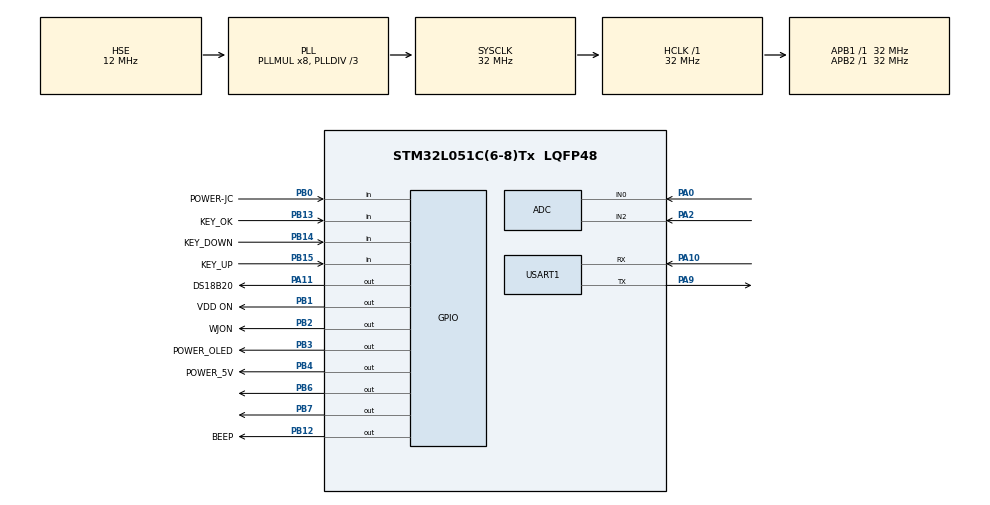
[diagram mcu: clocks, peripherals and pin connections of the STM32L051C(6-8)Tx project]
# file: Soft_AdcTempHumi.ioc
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ADC.ClockPrescaler=ADC_CLOCK_SYNC_PCLK_DIV2
ADC.ContinuousConvMode=ENABLE
ADC.DMAContinuousRequests=ENABLE
ADC.DiscontinuousConvMode=DISABLE
ADC.OversamplingMode=DISABLE
ADC.SamplingTime=ADC_SAMPLETIME_160CYCLES_5
ADC.ScanConvMode=ADC_SCAN_DIRECTION_FORWARD
Dma.ADC.0.Direction=DMA_PERIPH_TO_MEMORY
Dma.ADC.0.Instance=DMA1_Channel1
Dma.ADC.0.MemDataAlignment=DMA_MDATAALIGN_HALFWORD
Dma.ADC.0.MemInc=DMA_MINC_ENABLE
Dma.ADC.0.Mode=DMA_CIRCULAR
Dma.ADC.0.PeriphDataAlignment=DMA_PDATAALIGN_HALFWORD
Dma.ADC.0.PeriphInc=DMA_PINC_DISABLE
Dma.ADC.0.Priority=DMA_PRIORITY_LOW
Dma.Request0=ADC
FREERTOS.Tasks01=OLEDTask,-1,128,Oled_ShowTask,Default,NULL,Dynamic,NULL,NULL;AdcTask,0,128,Adc_Task,Default,NULL,Dynamic,NULL,NULL;KeyTask,-1,128,Key_Task,Default,NULL,Dynamic,NULL,NULL
Mcu.Family=STM32L0
Mcu.Name=STM32L051C(6-8)Tx
Mcu.Package=LQFP48
NVIC.ADC1_COMP_IRQn=true\:3\:0\:false\:false\:true\:true\:true\:true\:true
NVIC.DMA1_Channel1_IRQn=true\:3\:0\:false\:false\:true\:true\:false\:true\:true
NVIC.TIM22_IRQn=true\:3\:0\:false\:false\:true\:false\:false\:true\:true
NVIC.TimeBase=TIM22_IRQn
NVIC.TimeBaseIP=TIM22
PA0.Mode=IN0
PA0.Signal=ADC_IN0
PA10.Mode=Asynchronous
PA10.Signal=USART1_RX
PA11.GPIO_Label=DS18B20
PA11.GPIO_PuPd=GPIO_NOPULL
PA11.GPIO_Speed=GPIO_SPEED_FREQ_VERY_HIGH
PA11.PinState=GPIO_PIN_SET
PA11.Signal=GPIO_Output
PA13.Mode=Serial_Wire
PA13.Signal=SYS_SWDIO
PA14.Mode=Serial_Wire
PA14.Signal=SYS_SWCLK
PA2.Mode=IN2
PA2.Signal=ADC_IN2
PA9.Mode=Asynchronous
PA9.Signal=USART1_TX
PB0.GPIO_Label=POWER-JC
PB0.GPIO_PuPd=GPIO_PULLUP
PB0.Signal=GPIO_Input
PB1.GPIO_Label=VDD ON
PB1.GPIO_PuPd=GPIO_PULLUP
PB1.PinState=GPIO_PIN_SET
PB1.Signal=GPIO_Output
PB12.GPIO_Label=BEEP
PB12.Signal=GPIO_Output
PB13.GPIO_Label=KEY_OK
PB13.GPIO_PuPd=GPIO_PULLUP
PB13.Signal=GPIO_Input
PB14.GPIO_Label=KEY_DOWN
PB14.GPIO_PuPd=GPIO_PULLUP
PB14.Signal=GPIO_Input
PB15.GPIO_Label=KEY_UP
PB15.GPIO_PuPd=GPIO_PULLUP
PB15.Signal=GPIO_Input
PB2.GPIO_Label=WJON
PB2.GPIO_PuPd=GPIO_PULLUP
PB2.GPIO_Speed=GPIO_SPEED_FREQ_LOW
PB2.Signal=GPIO_Output
PB3.GPIO_Label=POWER_OLED
PB3.GPIO_PuPd=GPIO_PULLUP
PB3.GPIO_Speed=GPIO_SPEED_FREQ_LOW
PB3.PinState=GPIO_PIN_RESET
PB3.Signal=GPIO_Output
PB4.GPIO_Label=POWER_5V
PB4.GPIO_ModeDefaultOutputPP=GPIO_MODE_OUTPUT_PP
PB4.GPIO_PuPd=GPIO_PULLUP
PB4.GPIO_Speed=GPIO_SPEED_FREQ_HIGH
PB4.Signal=GPIO_Output
PB6.GPIO_PuPd=GPIO_PULLUP
PB6.PinState=GPIO_PIN_SET
PB6.Signal=GPIO_Output
PB7.GPIO_PuPd=GPIO_PULLUP
PB7.PinState=GPIO_PIN_SET
PB7.Signal=GPIO_Output
PH0-OSC_IN.Mode=HSE-External-Oscillator
PH0-OSC_IN.Signal=RCC_OSC_IN
PH1-OSC_OUT.Mode=HSE-External-Oscillator
PH1-OSC_OUT.Signal=RCC_OSC_OUT
ProjectManager.HeapSize=0x200
ProjectManager.StackSize=0x400
ProjectManager.TargetToolchain=MDK-ARM V5.32
RCC.AHBFreq_Value=32000000
RCC.APB1Freq_Value=32000000
RCC.APB1TimFreq_Value=32000000
RCC.APB2Freq_Value=32000000
RCC.APB2TimFreq_Value=32000000
RCC.HCLKFreq_Value=32000000
RCC.HSE_VALUE=12000000
RCC.HSI16_VALUE=16000000
RCC.HSI_VALUE=16000000
RCC.LSE_VALUE=32768
RCC.MSI_VALUE=2097000
RCC.PLLDIV=RCC_PLLDIV_3
RCC.PLLMUL=RCC_PLLMUL_8
RCC.PLLSourceVirtual=RCC_PLLSOURCE_HSE
RCC.SYSCLKFreq_VALUE=32000000
RCC.SYSCLKSource=RCC_SYSCLKSOURCE_PLLCLK
RCC.VCOOutputFreq_Value=96000000
TIM2.Prescaler=31
USART1.VirtualMode-Asynchronous=VM_ASYNC
VP_FREERTOS_VS_CMSIS_V1.Mode=CMSIS_V1
VP_SYS_VS_tim22.Mode=TIM22
VP_TIM2_VS_ClockSourceINT.Mode=Internal
board=custom

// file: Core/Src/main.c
/* USER CODE BEGIN Header */
/**
  ******************************************************************************
  * @file           : main.c
  * @brief          : Main program body
  ******************************************************************************
  * @attention
  *
  * Copyright (c) 2023 STMicroelectronics.
  * All rights reserved.
  *
  * This software is licensed under terms that can be found in the LICENSE file
  * in the root directory of this software component.
  * If no LICENSE file comes with this software, it is provided AS-IS.
  *
  ******************************************************************************
  */
/* USER CODE END Header */
#include "main.h"
#include "cmsis_os.h"
#include "adc.h"
#include "dma.h"
#include "tim.h"
#include "usart.h"
#include "gpio.h"

void SystemClock_Config(void);
void MX_FREERTOS_Init(void);

int main(void)
{

  /* MCU Configuration--------------------------------------------------------*/

  /* Reset of all peripherals, Initializes the Flash interface and the Systick. */
  HAL_Init();

  /* Configure the system clock */
  SystemClock_Config();

  /* Initialize all configured peripherals */
  MX_GPIO_Init();
  MX_DMA_Init();
  MX_ADC_Init();
  MX_USART1_UART_Init();
  MX_TIM2_Init();
  /* USER CODE BEGIN 2 */
    MX_DMA_Init();
//HAL_GPIO_WritePin(WJON_GPIO_Port, WJON_Pin, GPIO_PIN_RESET);
  /* USER CODE END 2 */

  /* Call init function for freertos objects (in freertos.c) */
  MX_FREERTOS_Init();

  /* Start scheduler */
  osKernelStart();

  /* We should never get here as control is now taken by the scheduler */
  /* Infinite loop */
    while (1)
    {

    }
}

void SystemClock_Config(void)
{
  RCC_OscInitTypeDef RCC_OscInitStruct = {0};
  RCC_ClkInitTypeDef RCC_ClkInitStruct = {0};
  RCC_PeriphCLKInitTypeDef PeriphClkInit = {0};

  /** Configure the main internal regulator output voltage
  */
  __HAL_PWR_VOLTAGESCALING_CONFIG(PWR_REGULATOR_VOLTAGE_SCALE1);

  /** Initializes the RCC Oscillators according to the specified parameters
  * in the RCC_OscInitTypeDef structure.
  */
  RCC_OscInitStruct.OscillatorType = RCC_OSCILLATORTYPE_HSE;
  RCC_OscInitStruct.HSEState = RCC_HSE_ON;
  RCC_OscInitStruct.PLL.PLLState = RCC_PLL_ON;
  RCC_OscInitStruct.PLL.PLLSource = RCC_PLLSOURCE_HSE;
  RCC_OscInitStruct.PLL.PLLMUL = RCC_PLLMUL_8;
  RCC_OscInitStruct.PLL.PLLDIV = RCC_PLLDIV_3;
  if (HAL_RCC_OscConfig(&RCC_OscInitStruct) != HAL_OK)
  {
    Error_Handler();
  }

  /** Initializes the CPU, AHB and APB buses clocks
  */
  RCC_ClkInitStruct.ClockType = RCC_CLOCKTYPE_HCLK|RCC_CLOCKTYPE_SYSCLK
                              |RCC_CLOCKTYPE_PCLK1|RCC_CLOCKTYPE_PCLK2;
  RCC_ClkInitStruct.SYSCLKSource = RCC_SYSCLKSOURCE_PLLCLK;
  RCC_ClkInitStruct.AHBCLKDivider = RCC_SYSCLK_DIV1;
  RCC_ClkInitStruct.APB1CLKDivider = RCC_HCLK_DIV1;
  RCC_ClkInitStruct.APB2CLKDivider = RCC_HCLK_DIV1;

  if (HAL_RCC_ClockConfig(&RCC_ClkInitStruct, FLASH_LATENCY_1) != HAL_OK)
  {
    Error_Handler();
  }
  PeriphClkInit.PeriphClockSelection = RCC_PERIPHCLK_USART1;
  PeriphClkInit.Usart1ClockSelection = RCC_USART1CLKSOURCE_PCLK2;
  if (HAL_RCCEx_PeriphCLKConfig(&PeriphClkInit) != HAL_OK)
  {
    Error_Handler();
  }
}

void HAL_TIM_PeriodElapsedCallback(TIM_HandleTypeDef *htim)
{
  if (htim->Instance == TIM22) {
    HAL_IncTick();
  }
}

void Error_Handler(void)
{
    __disable_irq();
    while (1)
    {
    }
}

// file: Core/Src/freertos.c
/* USER CODE BEGIN Header */
/**
  ******************************************************************************
  * File Name          : freertos.c
  * Description        : Code for freertos applications
  ******************************************************************************
  * @attention
  *
  * Copyright (c) 2023 STMicroelectronics.
  * All rights reserved.
  *
  * This software is licensed under terms that can be found in the LICENSE file
  * in the root directory of this software component.
  * If no LICENSE file comes with this software, it is provided AS-IS.
  *
  ******************************************************************************
  */
/* USER CODE END Header */

#include "FreeRTOS.h"
#include "task.h"
#include "main.h"
#include "cmsis_os.h"

/* USER CODE BEGIN Includes */
#include "voltage_adc.h"
#include "stdio.h"
#include "oled.h"
#include "adc.h"
#include "string.h"
#include "ds18b20.h"
/* USER CODE END Includes */

/* USER CODE BEGIN PTD */
__IO uint16_t adcCovValueBuff[10][2] = {0};	//存放ADC的值 6通道  每个通道存放30个值，由DMA循环写入
float SoilHumidity;
uint8_t Kwh_Percen;
float Temp_Value;
uint8_t OLED_ShowSprintBuff[50];
uint8_t Ui_ShowIndex;
uint8_t Ui_Set_ThereIndex;
uint8_t Kwh_ThereShold=20;
uint8_t Ui_OK_OFfLAG;
float Temp_ThereSholdValue = 40.0;
float Soi_TherelHumidity = 60.0;
/* USER CODE END PTD */

/* USER CODE BEGIN PD */
SemaphoreHandle_t OLED_bUFFxMutex;
/* USER CODE END PD */

osThreadId OLEDTaskHandle;
osThreadId AdcTaskHandle;
osThreadId KeyTaskHandle;

/* USER CODE BEGIN FunctionPrototypes */
uint16_t adc_value[10];
/* USER CODE END FunctionPrototypes */

void Oled_ShowTask(void const * argument);
void Adc_Task(void const * argument);
void Key_Task(void const * argument);

void MX_FREERTOS_Init(void); /* (MISRA C 2004 rule 8.1) */

/* GetIdleTaskMemory prototype (linked to static allocation support) */
void vApplicationGetIdleTaskMemory( StaticTask_t **ppxIdleTaskTCBBuffer, StackType_t **ppxIdleTaskStackBuffer, uint32_t *pulIdleTaskStackSize );

/* USER CODE BEGIN GET_IDLE_TASK_MEMORY */
static StaticTask_t xIdleTaskTCBBuffer;
static StackType_t xIdleStack[configMINIMAL_STACK_SIZE];

void vApplicationGetIdleTaskMemory( StaticTask_t **ppxIdleTaskTCBBuffer, StackType_t **ppxIdleTaskStackBuffer, uint32_t *pulIdleTaskStackSize )
{
    *ppxIdleTaskTCBBuffer = &xIdleTaskTCBBuffer;
    *ppxIdleTaskStackBuffer = &xIdleStack[0];
    *pulIdleTaskStackSize = configMINIMAL_STACK_SIZE;
    /* place for user code */
}
/* USER CODE END GET_IDLE_TASK_MEMORY */

void MX_FREERTOS_Init(void) {

  /* USER CODE BEGIN RTOS_MUTEX */
    OLED_bUFFxMutex = xSemaphoreCreateMutex( );
    /* add mutexes, ... */
  /* USER CODE END RTOS_MUTEX */

  /* Create the thread(s) */
  /* definition and creation of OLEDTask */
  osThreadDef(OLEDTask, Oled_ShowTask, osPriorityBelowNormal, 0, 128);
  OLEDTaskHandle = osThreadCreate(osThread(OLEDTask), NULL);

  /* definition and creation of AdcTask */
  osThreadDef(AdcTask, Adc_Task, osPriorityNormal, 0, 128);
  AdcTaskHandle = osThreadCreate(osThread(AdcTask), NULL);

  /* definition and creation of KeyTask */
  osThreadDef(KeyTask, Key_Task, osPriorityBelowNormal, 0, 128);
  KeyTaskHandle = osThreadCreate(osThread(KeyTask), NULL);

}

void Oled_ShowTask(void const * argument)
{
  /* USER CODE BEGIN Oled_ShowTask */
    memset(OLED_ShowSprintBuff, '\0', sizeof(OLED_ShowSprintBuff));
    OLED_Init();

    //OLED_Refresh();
    /* Infinite loop */
    for(;;)
    {
        //printf("THIS IS OK\n");
        if(!Ui_ShowIndex)
        {
            OLED_Clear();
            OLED_Showstring_CH(0,0,(const uint8_t*)"电量",OLED_SHOW_NOR);
            OLED_Showstring_CH(0,20,(const uint8_t*)"空气温度",OLED_SHOW_NOR);
            OLED_Showstring_CH(0,40,(const uint8_t*)"土壤湿度",OLED_SHOW_NOR);
            sprintf((char*)OLED_ShowSprintBuff,":%d%%",Kwh_Percen);
            OLED_ShowString(32,0,(const char *)OLED_ShowSprintBuff,16,OLED_SHOW_NOR);
            sprintf((char*)OLED_ShowSprintBuff,":%.1f",Temp_Value);
            OLED_ShowString(64,20,(const char *)OLED_ShowSprintBuff,16,OLED_SHOW_NOR);
            sprintf((char*)OLED_ShowSprintBuff,":%.1f%%  ",SoilHumidity);
            OLED_ShowString(64,40,(const char *)OLED_ShowSprintBuff,16,OLED_SHOW_NOR);
            OLED_Refresh();
        }
        else
        {
            OLED_Clear();
            if(Ui_OK_OFfLAG)
                OLED_ShowString(120,Ui_Set_ThereIndex*20,"<",16,OLED_SHOW_NOR);
            else
                OLED_ShowString(120,Ui_Set_ThereIndex*20,">",16,OLED_SHOW_NOR);
            OLED_Showstring_CH(0,0,(const uint8_t*)"电量阈值",OLED_SHOW_NOR);
            OLED_Showstring_CH(0,20,(const uint8_t*)"温度阈值",OLED_SHOW_NOR);
            OLED_Showstring_CH(0,40,(const uint8_t*)"湿度阈值",OLED_SHOW_NOR);
            sprintf((char*)OLED_ShowSprintBuff,":%d%%",Kwh_ThereShold);
            OLED_ShowString(64,0,(const char *)OLED_ShowSprintBuff,16,OLED_SHOW_NOR);
            sprintf((char*)OLED_ShowSprintBuff,":%.1f",Temp_ThereSholdValue);
            OLED_ShowString(64,20,(const char *)OLED_ShowSprintBuff,16,OLED_SHOW_NOR);
            sprintf((char*)OLED_ShowSprintBuff,":%.1f%%",Soi_TherelHumidity);
            OLED_ShowString(64,40,(const char *)OLED_ShowSprintBuff,16,OLED_SHOW_NOR);
            OLED_Refresh();
        }
  if((Temp_Value>Temp_ThereSholdValue)||(SoilHumidity>Soi_TherelHumidity))
        {
					//printf("Temp_Value = %f SoilHumidity = %f\n",Temp_Value,SoilHumidity);
            HAL_GPIO_WritePin(BEEP_GPIO_Port, BEEP_Pin, GPIO_PIN_SET);
        }
        else
        {
					//printf("OK\n");
            HAL_GPIO_WritePin(BEEP_GPIO_Port, BEEP_Pin, GPIO_PIN_RESET);
        }
        if(Kwh_Percen<Kwh_ThereShold)
        {
					HAL_GPIO_WritePin(GPIOB, VDD_ON_Pin, GPIO_PIN_RESET);
					osDelay(1000);
        }
//
        //osDelay(1000);

    }
  /* USER CODE END Oled_ShowTask */
}

void Adc_Task(void const * argument)
{
  /* USER CODE BEGIN Adc_Task */
    uint32_t sum = 0;
    uint16_t Adc_Value[2] ;
    short temperature;

    while(DS18B20_Init())	        //DS18B20初始化
    {

        osDelay(200);
    }

    osDelay(100);
    HAL_ADC_Start_DMA(&hadc,(uint32_t *)adcCovValueBuff,20);
    /* Infinite loop */
    for(;;)
    {
        temperature=DS18B20_Get_Temp();
        if((temperature<1000)&&(temperature>-1000))
        {
            Temp_Value = temperature/10.0f;
        }
        printf("\nTemp_Value = %f\n\n",(float)Temp_Value);

        for(uint8_t i = 0; i < 2; i++)//复制dma 的数据
        {
            sum = 0;
            for(uint8_t count = 0; count < 10; count++)
            {
                sum += adcCovValueBuff[count][i];
            }
            Adc_Value[i] = sum/10;
            if(i==1)
            {
                SoilHumidity = (float)((4096-Adc_Value[i])/(4096.0f-2000))*100;
                printf("SoilHumidity = %f\n",SoilHumidity);
                if(SoilHumidity>100)SoilHumidity=100;
                if(SoilHumidity<40) SoilHumidity = 40;
            }
            else
            {
                Kwh_Percen = (3.3 / 4096 * (Adc_Value[i]+64))*((100+200)/200.0f) / 4.1 * 100;
                if(Kwh_Percen>100)Kwh_Percen=100;
                printf("Kwh_Percen = %d \n",Kwh_Percen);
            }
            printf("Adc_Value[%d] = %d\n",i,	Adc_Value[i]);
        }
        osDelay(1000);
    }
  /* USER CODE END Adc_Task */
}

void Key_Task(void const * argument)
{
  /* USER CODE BEGIN Key_Task */
    uint16_t Timerout;
    osDelay(2000);
    /* Infinite loop */
    for(;;)
    {
        if(HAL_GPIO_ReadPin(KEY_OK_GPIO_Port, KEY_OK_Pin) ==RESET)
        {
            osDelay(10);
            if(HAL_GPIO_ReadPin(KEY_OK_GPIO_Port, KEY_OK_Pin) ==RESET)
            {
                if(Ui_ShowIndex )
                {
                    if(Ui_OK_OFfLAG == 0)
                        Ui_OK_OFfLAG = 1;
                    else Ui_OK_OFfLAG = 0;
                }
            }
            while(HAL_GPIO_ReadPin(KEY_OK_GPIO_Port, KEY_OK_Pin) ==RESET);
        }
        if(HAL_GPIO_ReadPin(KEY_DOWN_GPIO_Port, KEY_DOWN_Pin) ==RESET)
        {
            osDelay(10);
            if(HAL_GPIO_ReadPin(KEY_DOWN_GPIO_Port, KEY_DOWN_Pin) ==RESET)
            {

                if(Ui_OK_OFfLAG)
                {
                    switch(Ui_Set_ThereIndex)
                    {
                    case 0:
                        Kwh_ThereShold++;
                        if(Kwh_ThereShold>100)Kwh_ThereShold = 100;
                        break;

                    case 1:
                        Temp_ThereSholdValue++;
                        if(Temp_ThereSholdValue>100)Temp_ThereSholdValue=100;
                        break;
                    case 2:
                        Soi_TherelHumidity++;
                        if(Soi_TherelHumidity>100)Soi_TherelHumidity=100;
                        break;
                    }
                }
                else
                {
                    Ui_Set_ThereIndex++;
                    if(Ui_Set_ThereIndex>2)Ui_Set_ThereIndex=0;
                }
            }
            while(HAL_GPIO_ReadPin(KEY_DOWN_GPIO_Port, KEY_DOWN_Pin) ==RESET);
        }
        if(HAL_GPIO_ReadPin(KEY_UP_GPIO_Port, KEY_UP_Pin) ==RESET)
        {
            osDelay(10);
            if(HAL_GPIO_ReadPin(KEY_UP_GPIO_Port, KEY_UP_Pin) ==RESET)
            {
                if(Ui_OK_OFfLAG)
                {
                    switch(Ui_Set_ThereIndex)
                    {
                    case 0:
                        Kwh_ThereShold--;
                        if(Kwh_ThereShold>100)Kwh_ThereShold = 0;
                        break;

                    case 1:
                        Temp_ThereSholdValue--;
                        if(Temp_ThereSholdValue>100)Temp_ThereSholdValue=0;
                        break;
                    case 2:
                        Soi_TherelHumidity--;
                        if(Soi_TherelHumidity>100)Soi_TherelHumidity=0;
                        break;
                    }
                }
                else
                {
                    Ui_Set_ThereIndex--;
                    if(Ui_Set_ThereIndex>2)Ui_Set_ThereIndex=2;
                }

            }
            while(HAL_GPIO_ReadPin(KEY_UP_GPIO_Port, KEY_UP_Pin) ==RESET);
        }
        if(HAL_GPIO_ReadPin(POWER_JC_GPIO_Port, POWER_JC_Pin) ==RESET)
        {
            //osDelay(10);
            while(HAL_GPIO_ReadPin(POWER_JC_GPIO_Port, POWER_JC_Pin) ==RESET)
            {
                if(Timerout++ > 300)
                {
                    HAL_GPIO_WritePin(GPIOB, VDD_ON_Pin, GPIO_PIN_RESET);
                    osDelay(1000);
                }
                osDelay(10);
            }
            if(Timerout>1)
            {
                if(!Ui_ShowIndex)Ui_ShowIndex=1;
                else
                {
                    Ui_ShowIndex = 0;
                    Ui_Set_ThereIndex = 0;
                    Ui_OK_OFfLAG = 0;
                }

            }
            Timerout = 0;
        }
        //osDelay(10);
    }
  /* USER CODE END Key_Task */
}
